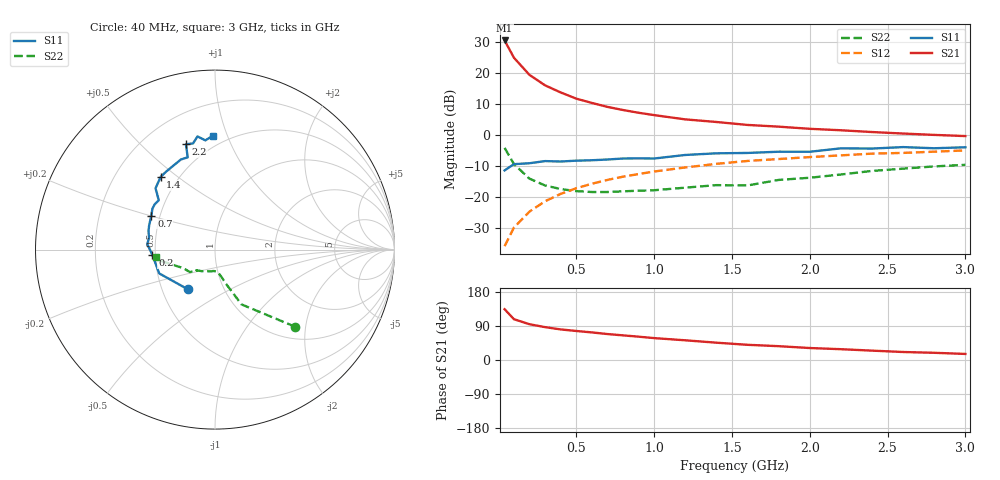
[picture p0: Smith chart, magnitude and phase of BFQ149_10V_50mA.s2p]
! Filename:  BFQ149G.S2P  Version:  2.0
! Philips part #: BFQ149  Date: Aug 1990
! Bias condition: Vce=-10V, Ic=-50mA
#  MHz  S  MA  R  50
! Freq  S11  S21  S12  S22  !GUM [dB]
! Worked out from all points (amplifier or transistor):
!   21 points, 40 MHz to 3 GHz, reference 50 ohm
!   highest |S21| = 30.6 dB at 40 MHz (marker M1)
!   |S21| within 3 dB of that: start of sweep to 72.2 MHz
!   unconditionally stable (mu >= 1): 186.1 MHz to 1.153 GHz
!   at 300 MHz: K = 1.02, MAG = 17.8 dB, |S12| = -21.4 dB
!   at 1 GHz: K = 1.03, MAG = 8.1 dB, |S12| = -11.8 dB
!   at 3 GHz: K = 0.92, MSG = 2.3 dB, |S12| = -5.0 dB
!   S11 on the Smith chart (normalised r, x): 40 MHz: 0.68, -0.32; 200 MHz: 0.48, -0.03; 700 MHz: 0.45, +0.20; 1.4 GHz: 0.40, +0.44; 2.2 GHz: 0.37, +0.69; 3 GHz: 0.42, +0.89
40  0.268 -124.4  33.7 134.0  0.016 72.7  0.62 -43.9
100  0.338 -156.9  17.7 107.6  0.032 75.1  0.339 -64.2
200  0.35 -175.0  9.346 94.4  0.058 76.5  0.197 -72.5
300  0.379 175.2  6.342 86.7  0.085 76.8  0.153 -77.2
400  0.373 170.2  4.875 80.7  0.112 75.6  0.134 -81.1
500  0.385 164.2  3.871 76.6  0.138 74.8  0.124 -85.9
600  0.391 159.7  3.302 72.8  0.163 72.7  0.12 -90.8
700  0.402 151.9  2.849 68.5  0.188 71.3  0.12 -95.3
800  0.417 146.7  2.535 65.0  0.212 69.7  0.123 -100.1
900  0.42 143.1  2.29 61.6  0.234 67.8  0.126 -106.1
1000  0.417 138.7  2.098 57.8  0.257 66.2  0.128 -111.8
1200  0.476 134.1  1.789 52.0  0.299 63.3  0.141 -121.4
1400  0.506 126.7  1.624 45.7  0.342 60.6  0.155 -132.2
1600  0.513 121.9  1.455 40.1  0.381 56.5  0.153 -131.0
1800  0.537 110.7  1.365 36.5  0.409 54.5  0.188 -138.2
2000  0.536 106.5  1.26 31.6  0.44 52.0  0.204 -149.5
2200  0.609 105.4  1.193 28.5  0.469 49.8  0.23 -156.3
2400  0.604 101.7  1.117 24.7  0.5 47.2  0.263 -162.4
2600  0.638 98.8  1.056 21.1  0.514 44.8  0.286 -165.7
2800  0.611 95.0  1.004 19.0  0.538 43.1  0.311 -168.6
3000  0.634 91.2  0.961 16.0  0.564 40.4  0.33 -173.0
